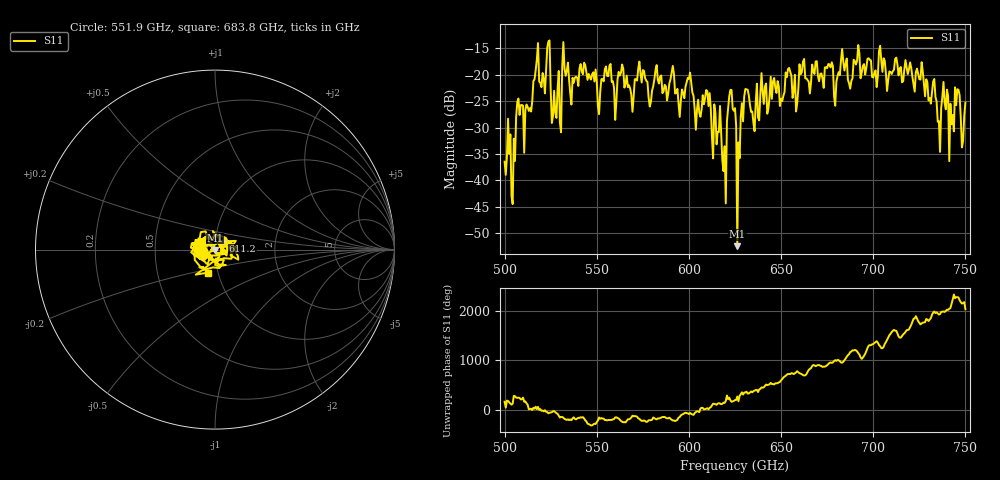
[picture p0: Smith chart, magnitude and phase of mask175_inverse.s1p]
!Created with skrf (http://scikit-rf.org).
# GHz S MA R 50.0
!freq magS11 angS11
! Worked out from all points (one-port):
!   401 points, 500 GHz to 750 GHz, reference 50 ohm
!   lowest |S11| = -52.5 dB at 626.2 GHz (marker M1), VSWR 1.00, Z = 50 - j0.238 ohm
!   |S11| at or under -10 dB: start of sweep to end of sweep
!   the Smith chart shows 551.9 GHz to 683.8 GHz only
!   S11 on the Smith chart (normalised r, x): 551.9 GHz: 0.87, -0.02; 611.2 GHz: 1.09, +0.11; 683.8 GHz: 0.90, -0.23
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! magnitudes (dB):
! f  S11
! 500 GHz  -36.5
! 505 GHz  -32.1
! 507.5 GHz  -24.5
! 511.9 GHz  -25.6
! 516.9 GHz  -19.1
! 523.8 GHz  -13.7
! 526.9 GHz  -23.0
! 531.2 GHz  -18.5
! 533.1 GHz  -20.2
! 551.9 GHz  -23.2
! 562.5 GHz  -20.2
! 593.8 GHz  -22.6
! 600 GHz  -20.8
! 611.2 GHz  -23.5
! 618.8 GHz  -38.2
! 622.5 GHz  -22.9
! 625 GHz  -26.3
! 626.2 GHz  -52.5
! 631.2 GHz  -22.8
! 634.4 GHz  -26.9
! 656.2 GHz  -24.4
! 683.8 GHz  -17.5
! 687.5 GHz  -22.6
! 691.2 GHz  -17.3
! 718.8 GHz  -19.9
! 735.6 GHz  -28.8
! 738.8 GHz  -25.3
! 750 GHz  -25.3
